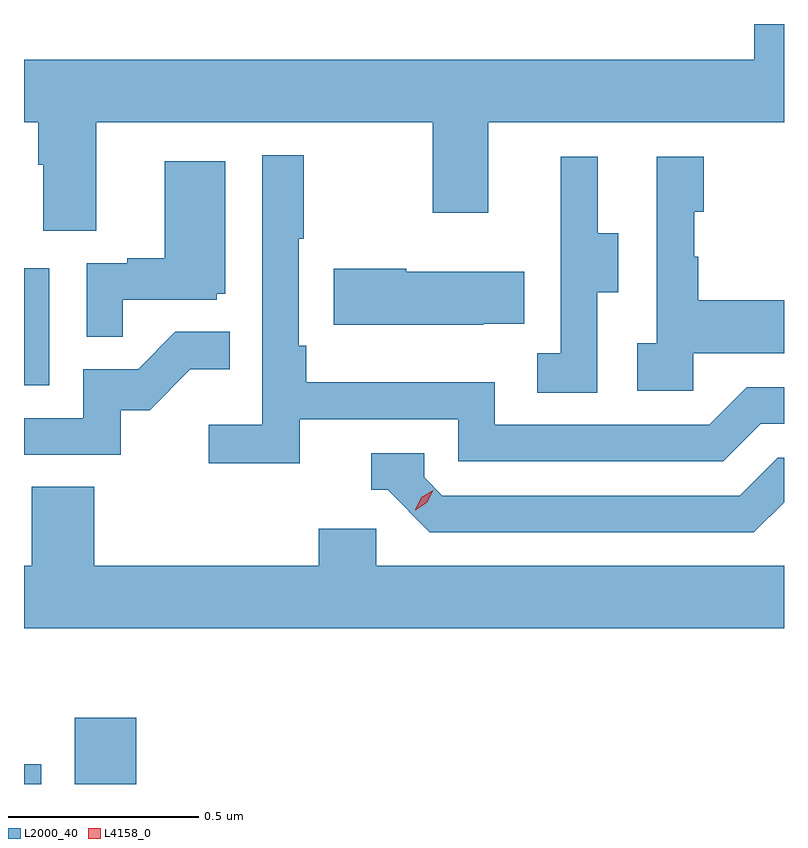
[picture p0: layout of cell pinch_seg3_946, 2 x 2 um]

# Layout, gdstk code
import gdstk
lib = gdstk.Library(unit=1e-6, precision=1e-09)
def R(c, l, rs):  # rectangles x0, y0, x1, y1
    for r in rs: c.add(gdstk.rectangle(r[:2], r[2:], *l))
def P(c, l, *ps):  # polygons
    for p in ps: c.add(gdstk.Polygon(p, *l))
L2000_40 = (2000, 40)
L4158_0 = (4158, 0)

pinch_seg3_946 = lib.new_cell('pinch_seg3_946')
R(pinch_seg3_946, L2000_40, [(886.473,673.866,886.518,673.918), (886.607,673.866,886.768,674.041), (886.473,674.916,886.54,675.223)])
P(pinch_seg3_946, L2000_40, [(886.663,675.608),(887.548,675.608),(887.548,675.369),(887.695,675.369),(887.695,675.608),(888.473,675.608),(888.473,675.866),(888.395,675.866),(888.395,675.772),(886.473,675.772),(886.473,675.608),(886.511,675.608),(886.511,675.496),(886.523,675.496),(886.523,675.322),(886.663,675.322)],
  [(887.198,674.826),(887.616,674.826),(887.616,674.715),(888.313,674.715),(888.412,674.814),(888.473,674.814),(888.473,674.91),(888.375,674.91),(888.276,674.811),(887.712,674.811),(887.712,674.923),(887.216,674.923),(887.216,675.019),(887.196,675.019),(887.196,675.301),(887.209,675.301),(887.209,675.52),(887.1,675.52),(887.1,674.812),(886.959,674.812),(886.959,674.71),(887.198,674.71)],
  [(887.982,675.16),(888.037,675.16),(888.037,675.315),(887.983,675.315),(887.983,675.517),(887.885,675.517),(887.885,675.303),(887.886,675.303),(887.886,674.999),(887.823,674.999),(887.823,674.896),(887.982,674.896)],
  [(888.234,674.999),(888.473,674.999),(888.473,675.139),(888.247,675.139),(888.247,675.254),(888.237,675.254),(888.237,675.372),(888.262,675.372),(888.262,675.517),(888.138,675.517),(888.138,675.026),(888.087,675.026),(888.087,674.901),(888.234,674.901)],
  [(886.733,675.141),(886.98,675.141),(886.98,675.156),(887.002,675.156),(887.002,675.505),(886.844,675.505),(886.844,675.25),(886.745,675.25),(886.745,675.237),(886.638,675.237),(886.638,675.043),(886.733,675.043)],
  [(887.681,675.077),(887.789,675.077),(887.789,675.214),(887.479,675.214),(887.479,675.222),(887.288,675.222),(887.288,675.074),(887.681,675.074)],
  [(886.728,674.85),(886.804,674.85),(886.911,674.957),(887.015,674.957),(887.015,675.056),(886.871,675.056),(886.773,674.958),(886.629,674.958),(886.629,674.829),(886.473,674.829),(886.473,674.733),(886.728,674.733)],
  [(888.473,674.608),(888.473,674.724),(888.456,674.724),(888.357,674.625),(887.574,674.625),(887.526,674.673),(887.526,674.736),(887.387,674.736),(887.387,674.64),(887.43,674.64),(887.541,674.529),(888.394,674.529)],
  [(888.473,674.44),(887.4,674.44),(887.4,674.538),(887.249,674.538),(887.249,674.44),(886.658,674.44),(886.658,674.648),(886.493,674.648),(886.493,674.44),(886.473,674.44),(886.473,674.276),(888.473,674.276)])
P(pinch_seg3_946, L4158_0, [(887.502,674.587),(887.502,674.588),(887.519,674.62),(887.55,674.639),(887.55,674.639),(887.55,674.639),(887.533,674.606),(887.503,674.587)])

lib.write_gds('pinch_seg3_946.gds')
